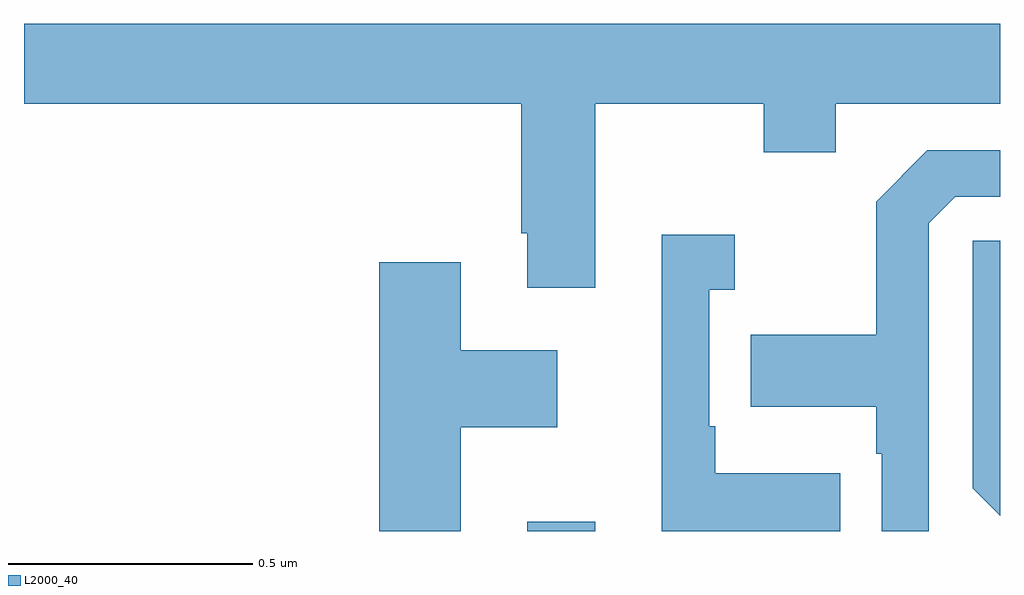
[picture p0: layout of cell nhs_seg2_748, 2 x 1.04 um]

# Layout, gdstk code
import gdstk
lib = gdstk.Library(unit=1e-6, precision=1e-09)
def R(c, l, rs):  # rectangles x0, y0, x1, y1
    for r in rs: c.add(gdstk.rectangle(r[:2], r[2:], *l))
def P(c, l, *ps):  # polygons
    for p in ps: c.add(gdstk.Polygon(p, *l))
L2000_40 = (2000, 40)

nhs_seg2_748 = lib.new_cell('nhs_seg2_748')
R(nhs_seg2_748, L2000_40, [(121.031,606.8,121.171,606.82)])
P(nhs_seg2_748, L2000_40, [(121.171,607.676),(121.516,607.676),(121.516,607.577),(121.663,607.577),(121.663,607.676),(122,607.676),(122,607.84),(120,607.84),(120,607.676),(121.019,607.676),(121.019,607.411),(121.031,607.411),(121.031,607.299),(121.171,607.299)],
  [(121.854,607.431),(121.908,607.485),(122,607.485),(122,607.581),(121.851,607.581),(121.746,607.475),(121.746,607.203),(121.489,607.203),(121.489,607.055),(121.746,607.055),(121.746,606.959),(121.758,606.959),(121.758,606.8),(121.854,606.8)],
  [(121.673,606.919),(121.417,606.919),(121.417,607.015),(121.404,607.015),(121.404,607.295),(121.456,607.295),(121.456,607.408),(121.307,607.408),(121.307,606.8),(121.673,606.8)],
  [(122,607.395),(121.944,607.395),(121.944,606.888),(122,606.832)],
  [(120.895,607.013),(121.093,607.013),(121.093,607.171),(120.895,607.171),(120.895,607.351),(120.728,607.351),(120.728,606.8),(120.895,606.8)])

lib.write_gds('nhs_seg2_748.gds')
